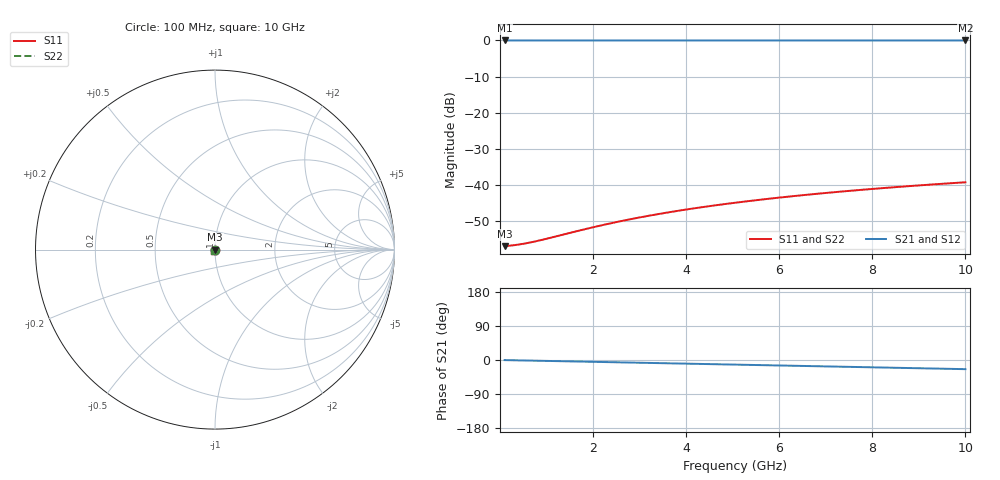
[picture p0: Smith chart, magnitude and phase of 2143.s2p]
# Hz S RI R 50.00
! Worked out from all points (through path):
!   100 points, 100 MHz to 10 GHz, reference 50 ohm
!   highest |S21| = -0.01 dB at 100 MHz (marker M1); lowest = 0.0 dB at 10 GHz (marker M2)
!   group delay of S21, straight-line fit = 6.71 ps
!   lowest |S11| = -56.9 dB at 100 MHz (marker M3), VSWR 1.00, Z = 50.1 - j0.0114 ohm
!   |S11| at or under -10 dB: start of sweep to end of sweep
!   |S22| runs from -56.9 to -39.2 dB; largest |S21 - S12| = 0
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1e8  0.00143 -0.000114  0.9986 -0.00419  0.9986 -0.00419  0.00143 -0.000114
3e8  0.00144 -0.000342  0.9985 -0.0126  0.9985 -0.0126  0.00144 -0.000342
4e8  0.00144 -0.000456  0.9984 -0.0168  0.9984 -0.0168  0.00144 -0.000456
5e8  0.00144 -0.00057  0.9983 -0.021  0.9983 -0.021  0.00144 -0.00057
7e8  0.00143 -0.000799  0.9981 -0.0293  0.9981 -0.0293  0.00143 -0.000799
1e9  0.00141 -0.00114  0.9976 -0.0419  0.9976 -0.0419  0.00141 -0.00114
1.8e9  0.00131 -0.00206  0.9956 -0.0754  0.9956 -0.0754  0.00131 -0.00206
2.2e9  0.00124 -0.00251  0.9942 -0.0921  0.9942 -0.0921  0.00124 -0.00251
2.6e9  0.00115 -0.00297  0.9925 -0.1088  0.9925 -0.1088  0.00115 -0.00297
3e9  0.00104 -0.00342  0.9905 -0.1255  0.9905 -0.1255  0.00104 -0.00342
3.4e9  0.000919 -0.00387  0.9882 -0.1421  0.9882 -0.1421  0.000919 -0.00387
3.8e9  0.000782 -0.00432  0.9857 -0.1587  0.9857 -0.1587  0.000782 -0.00432
4.2e9  0.000629 -0.00477  0.9828 -0.1753  0.9828 -0.1753  0.000629 -0.00477
4.6e9  0.000462 -0.00521  0.9797 -0.1919  0.9797 -0.1919  0.000462 -0.00521
5.1e9  0.000232 -0.00576  0.9754 -0.2125  0.9754 -0.2125  0.000232 -0.00576
5.5e9  3.1e-05 -0.00619  0.9717 -0.2289  0.9717 -0.2289  3.1e-05 -0.00619
5.9e9  -0.000184 -0.00661  0.9677 -0.2452  0.9677 -0.2452  -0.000184 -0.00661
6.7e9  -0.000657 -0.00745  0.9588 -0.2778  0.9588 -0.2778  -0.000657 -0.00745
7.5e9  -0.00119 -0.00825  0.9488 -0.31  0.9488 -0.31  -0.00119 -0.00825
8.4e9  -0.00184 -0.0091  0.9363 -0.346  0.9363 -0.346  -0.00184 -0.0091
9.2e9  -0.00248 -0.00982  0.924 -0.3775  0.924 -0.3775  -0.00248 -0.00982
1e10  -0.00316 -0.0105  0.9106 -0.4086  0.9106 -0.4086  -0.00316 -0.0105
